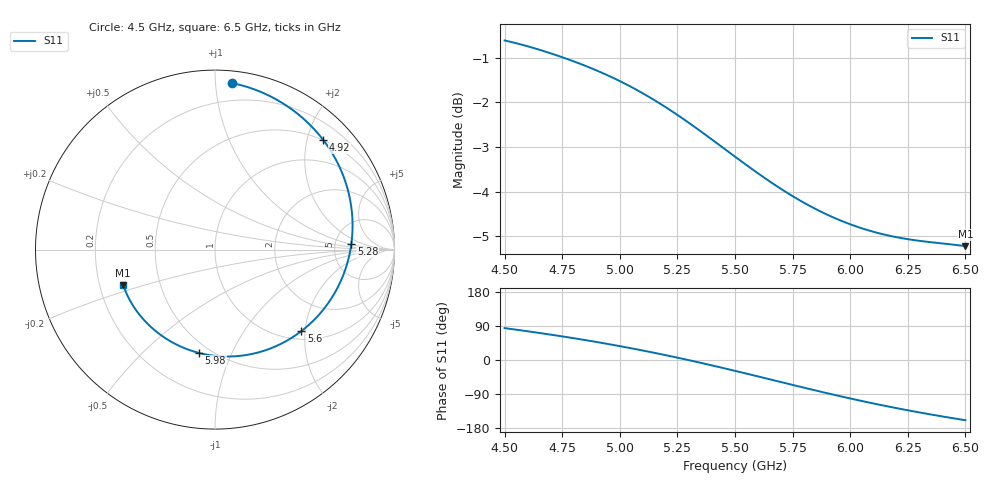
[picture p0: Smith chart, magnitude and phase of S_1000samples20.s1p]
! TOUCHSTONE file generated by CST MICROWAVE STUDIO
! Date and time: Wed Oct 26 17:28:22 2022
! Project name: L.cst
! Parameters = {Di=1.27; Epsilon_r=1.56; InnerDiameter=1.27; Length=2; Lf=10; Lg=60; OuterConductorThickness=0.2921; OuterDiameter=3.6; Wf=3; Wp=41.2; de=1.5; df=6.8; g=0.8; gx=2.63454; gy=2.68583; h=2.34; hf=1.524; px=11.2065; py=10.1842; w=9.7; wx=8.57197; wy=7.49839}
! Header version: 2018
! Port assignment regex: !\s*Touchstone port\s*([0-9]+)\s*=\s*(CST MWS port|CST DS port)\s*([0-9]+|Zmin|Zmax)\s*\(\"(.*)\"\)(\s*mode\s*([0-9]+))?.*
! Touchstone port assignment:
! Touchstone port 1 = CST MWS port 1 ("")
# GHz S DB R 50
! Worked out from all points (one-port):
!   101 points, 4.5 GHz to 6.5 GHz, reference 50 ohm
!   lowest |S11| = -5.2 dB at 6.5 GHz (marker M1), VSWR 3.43, Z = 15.1 - j8.49 ohm
!   |S11| at or under -10 dB: nowhere
!   S11 on the Smith chart (normalised r, x): 4.5 GHz: 0.08, +1.10; 4.92 GHz: 0.50, +2.30; 5.28 GHz: 7.19, +0.99; 5.6 GHz: 1.18, -1.91; 5.98 GHz: 0.44, -0.76; 6.5 GHz: 0.30, -0.17
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4.5  -0.61 84.1
4.58  -0.71 77.5
4.64  -0.80 72.3
4.76  -1.00 61.3
4.84  -1.16 53.5
4.92  -1.33 45.3
5  -1.52 36.6
5.08  -1.74 27.4
5.14  -1.92 20.1
5.2  -2.11 12.6
5.26  -2.31 4.8
5.28  -2.39 2.2
5.32  -2.53 -3.2
5.38  -2.75 -11.5
5.44  -2.98 -20.0
5.5  -3.21 -28.6
5.6  -3.59 -43.4
5.68  -3.87 -55.3
5.76  -4.13 -67.2
5.86  -4.41 -81.9
5.92  -4.56 -90.4
5.98  -4.69 -98.8
6  -4.73 -101.5
6.08  -4.87 -112.0
6.14  -4.95 -119.6
6.26  -5.07 -133.8
6.38  -5.15 -146.9
6.5  -5.22 -158.9
